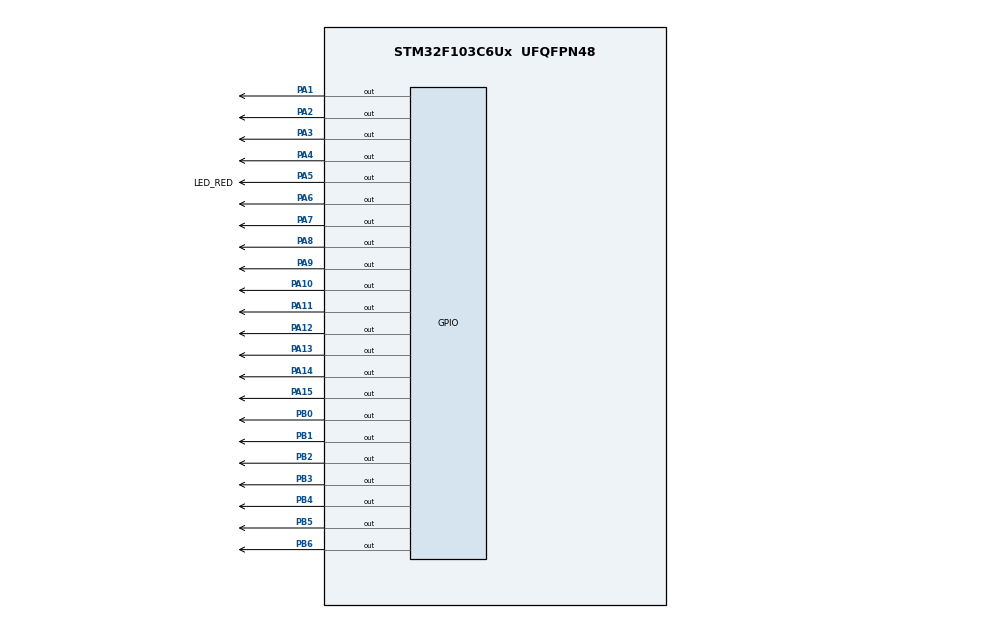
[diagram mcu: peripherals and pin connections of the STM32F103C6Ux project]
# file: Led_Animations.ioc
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Mcu.Family=STM32F1
Mcu.Name=STM32F103C6Ux
Mcu.Package=UFQFPN48
NVIC.PriorityGroup=NVIC_PRIORITYGROUP_4
PA1.Signal=GPIO_Output
PA10.Signal=GPIO_Output
PA11.Signal=GPIO_Output
PA12.Signal=GPIO_Output
PA13.Signal=GPIO_Output
PA14.Signal=GPIO_Output
PA15.Signal=GPIO_Output
PA2.Signal=GPIO_Output
PA3.Signal=GPIO_Output
PA4.Signal=GPIO_Output
PA5.GPIO_Label=LED_RED
PA5.Signal=GPIO_Output
PA6.Signal=GPIO_Output
PA7.Signal=GPIO_Output
PA8.Signal=GPIO_Output
PA9.Signal=GPIO_Output
PB0.Signal=GPIO_Output
PB1.Signal=GPIO_Output
PB2.Signal=GPIO_Output
PB3.Signal=GPIO_Output
PB4.Signal=GPIO_Output
PB5.Signal=GPIO_Output
PB6.Signal=GPIO_Output
ProjectManager.HeapSize=0x200
ProjectManager.StackSize=0x400
ProjectManager.TargetToolchain=STM32CubeIDE
RCC.APB1Freq_Value=8000000
RCC.APB2Freq_Value=8000000
VP_SYS_VS_ND.Mode=No_Debug
board=custom

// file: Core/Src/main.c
/* USER CODE BEGIN Header */
/**
  ******************************************************************************
  * @file           : main.c
  * @brief          : Main program body
  ******************************************************************************
  * @attention
  *
  * <h2><center>&copy; Copyright (c) 2026 STMicroelectronics.
  * All rights reserved.</center></h2>
  *
  * This software component is licensed by ST under BSD 3-Clause license,
  * the "License"; You may not use this file except in compliance with the
  * License. You may obtain a copy of the License at:
  *                        opensource.org/licenses/BSD-3-Clause
  *
  ******************************************************************************
  */
/* USER CODE END Header */
#include "main.h"

void SystemClock_Config(void);
static void MX_GPIO_Init(void);

/* USER CODE BEGIN 0 */
uint16_t clock_pins[12] = {
	    GPIO_PIN_4,  GPIO_PIN_5,  GPIO_PIN_6,  GPIO_PIN_7,
	    GPIO_PIN_8,  GPIO_PIN_9,  GPIO_PIN_10, GPIO_PIN_11,
	    GPIO_PIN_12, GPIO_PIN_13, GPIO_PIN_14, GPIO_PIN_15
	  };
void clearAllClock()
{
	for (int i = 0; i < 12; i++)
		      {
		          HAL_GPIO_WritePin(GPIOA, clock_pins[i], GPIO_PIN_SET);
		      }
}
void setNumberOnClock(int num)
{
	if (num >= 0 && num <= 11)
		HAL_GPIO_WritePin(GPIOA, clock_pins[num], GPIO_PIN_RESET);
}

void clearNumberOnClock(int num)
{
	if (num >= 0 && num <= 11)
		HAL_GPIO_WritePin(GPIOA, clock_pins[num], GPIO_PIN_SET);
}
/* USER CODE END 0 */

int main(void)
{
  /* USER CODE BEGIN 1 */

	int hour = 0;
	int min = 0;
	int sec = 0;
  /* USER CODE END 1 */

  /* MCU Configuration--------------------------------------------------------*/

  /* Reset of all peripherals, Initializes the Flash interface and the Systick. */
  HAL_Init();

  /* Configure the system clock */
  SystemClock_Config();

  /* Initialize all configured peripherals */
  MX_GPIO_Init();

  /* Infinite loop */
  /* USER CODE BEGIN WHILE */
  while (1)
  {
	  clearAllClock();

	  int hour_pos = hour % 12;
	  int min_pos = min/5;
	  int sec_pos = sec/5;

	  setNumberOnClock(hour_pos);
	  setNumberOnClock(min_pos);
	  setNumberOnClock(sec_pos);

	  sec++;
	  if(sec >=60)
	  {
		  min++;
		  sec = 0;
	  }
	  if(min >= 60)
	  {
		  min = 0;
		  hour++;
	  }
	  if(hour >= 24 )
	  {
		  hour = 0;

	  }

	  HAL_Delay(1000);
    /* USER CODE END WHILE */

  }
}

void SystemClock_Config(void)
{
  RCC_OscInitTypeDef RCC_OscInitStruct = {0};
  RCC_ClkInitTypeDef RCC_ClkInitStruct = {0};

  /** Initializes the RCC Oscillators according to the specified parameters
  * in the RCC_OscInitTypeDef structure.
  */
  RCC_OscInitStruct.OscillatorType = RCC_OSCILLATORTYPE_HSI;
  RCC_OscInitStruct.HSIState = RCC_HSI_ON;
  RCC_OscInitStruct.HSICalibrationValue = RCC_HSICALIBRATION_DEFAULT;
  RCC_OscInitStruct.PLL.PLLState = RCC_PLL_NONE;
  if (HAL_RCC_OscConfig(&RCC_OscInitStruct) != HAL_OK)
  {
    Error_Handler();
  }
  /** Initializes the CPU, AHB and APB buses clocks
  */
  RCC_ClkInitStruct.ClockType = RCC_CLOCKTYPE_HCLK|RCC_CLOCKTYPE_SYSCLK
                              |RCC_CLOCKTYPE_PCLK1|RCC_CLOCKTYPE_PCLK2;
  RCC_ClkInitStruct.SYSCLKSource = RCC_SYSCLKSOURCE_HSI;
  RCC_ClkInitStruct.AHBCLKDivider = RCC_SYSCLK_DIV1;
  RCC_ClkInitStruct.APB1CLKDivider = RCC_HCLK_DIV1;
  RCC_ClkInitStruct.APB2CLKDivider = RCC_HCLK_DIV1;

  if (HAL_RCC_ClockConfig(&RCC_ClkInitStruct, FLASH_LATENCY_0) != HAL_OK)
  {
    Error_Handler();
  }
}

static void MX_GPIO_Init(void)
{
  GPIO_InitTypeDef GPIO_InitStruct = {0};

  /* GPIO Ports Clock Enable */
  __HAL_RCC_GPIOA_CLK_ENABLE();
  __HAL_RCC_GPIOB_CLK_ENABLE();

  /*Configure GPIO pin Output Level */
  HAL_GPIO_WritePin(GPIOA, GPIO_PIN_1|GPIO_PIN_2|GPIO_PIN_3|GPIO_PIN_4
                          |LED_RED_Pin|GPIO_PIN_6|GPIO_PIN_7|GPIO_PIN_8
                          |GPIO_PIN_9|GPIO_PIN_10|GPIO_PIN_11|GPIO_PIN_12
                          |GPIO_PIN_13|GPIO_PIN_14|GPIO_PIN_15, GPIO_PIN_RESET);

  /*Configure GPIO pin Output Level */
  HAL_GPIO_WritePin(GPIOB, GPIO_PIN_0|GPIO_PIN_1|GPIO_PIN_2|GPIO_PIN_3
                          |GPIO_PIN_4|GPIO_PIN_5|GPIO_PIN_6, GPIO_PIN_RESET);

  /*Configure GPIO pins : PA1 PA2 PA3 PA4
                           LED_RED_Pin PA6 PA7 PA8
                           PA9 PA10 PA11 PA12
                           PA13 PA14 PA15 */
  GPIO_InitStruct.Pin = GPIO_PIN_1|GPIO_PIN_2|GPIO_PIN_3|GPIO_PIN_4
                          |LED_RED_Pin|GPIO_PIN_6|GPIO_PIN_7|GPIO_PIN_8
                          |GPIO_PIN_9|GPIO_PIN_10|GPIO_PIN_11|GPIO_PIN_12
                          |GPIO_PIN_13|GPIO_PIN_14|GPIO_PIN_15;
  GPIO_InitStruct.Mode = GPIO_MODE_OUTPUT_PP;
  GPIO_InitStruct.Pull = GPIO_NOPULL;
  GPIO_InitStruct.Speed = GPIO_SPEED_FREQ_LOW;
  HAL_GPIO_Init(GPIOA, &GPIO_InitStruct);

  /*Configure GPIO pins : PB0 PB1 PB2 PB3
                           PB4 PB5 PB6 */
  GPIO_InitStruct.Pin = GPIO_PIN_0|GPIO_PIN_1|GPIO_PIN_2|GPIO_PIN_3
                          |GPIO_PIN_4|GPIO_PIN_5|GPIO_PIN_6;
  GPIO_InitStruct.Mode = GPIO_MODE_OUTPUT_PP;
  GPIO_InitStruct.Pull = GPIO_NOPULL;
  GPIO_InitStruct.Speed = GPIO_SPEED_FREQ_LOW;
  HAL_GPIO_Init(GPIOB, &GPIO_InitStruct);

}

void Error_Handler(void)
{
  __disable_irq();
  while (1)
  {
  }
}

/************************ (C) COPYRIGHT STMicroelectronics *****END OF FILE****/
